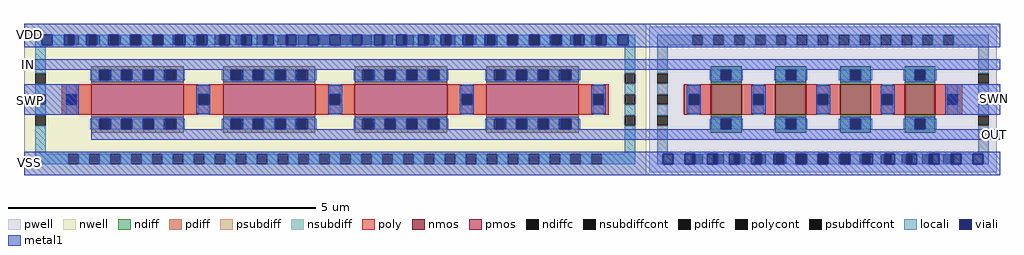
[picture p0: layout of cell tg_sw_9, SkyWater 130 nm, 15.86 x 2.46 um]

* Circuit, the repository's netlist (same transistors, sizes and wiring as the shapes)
** sch_path: /home/mthudaa/vlsi/8bit_SAR-ADC_ITS/xschem/tg_sw_9.sch
.subckt tg_sw_9 vdd swp swn vss in out
*.PININFO vdd:I swp:I swn:I vss:I in:B out:B
XM1 in swp out vdd sky130_fd_pr__pfet_01v8 L=0.5 W=1.5 nf=1 m=4
XM2 in swn out vss sky130_fd_pr__nfet_01v8 L=0.5 W=0.5 nf=1 m=4
.ends
.end

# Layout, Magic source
magic
tech sky130A
magscale 1 2
<< locali >>
rect -16 369 5 403
rect 39 369 77 403
rect 111 369 149 403
rect 183 369 221 403
rect 255 369 293 403
rect 327 369 365 403
rect 399 369 437 403
rect 471 369 509 403
rect 543 369 581 403
rect 615 369 653 403
rect 687 369 725 403
rect 759 369 797 403
rect 831 369 869 403
rect 903 369 941 403
rect 975 369 1013 403
rect 1047 369 1085 403
rect 1119 369 1157 403
rect 1191 369 1229 403
rect 1263 369 1301 403
rect 1335 369 1373 403
rect 1407 369 1445 403
rect 1479 369 1517 403
rect 1551 369 1589 403
rect 1623 369 1661 403
rect 1695 369 1733 403
rect 1767 369 1805 403
rect 1839 369 1877 403
rect 1911 369 1933 403
rect 2005 -17 2023 17
rect 2057 -17 2095 17
rect 2129 -17 2167 17
rect 2201 -17 2239 17
rect 2273 -17 2311 17
rect 2345 -17 2383 17
rect 2417 -17 2455 17
rect 2489 -17 2527 17
rect 2561 -17 2599 17
rect 2633 -17 2671 17
rect 2705 -17 2743 17
rect 2777 -17 2815 17
rect 2849 -17 2887 17
rect 2921 -17 2959 17
rect 2993 -17 3031 17
rect 3065 -17 3083 17
<< viali >>
rect 5 369 39 403
rect 77 369 111 403
rect 149 369 183 403
rect 221 369 255 403
rect 293 369 327 403
rect 365 369 399 403
rect 437 369 471 403
rect 509 369 543 403
rect 581 369 615 403
rect 653 369 687 403
rect 725 369 759 403
rect 797 369 831 403
rect 869 369 903 403
rect 941 369 975 403
rect 1013 369 1047 403
rect 1085 369 1119 403
rect 1157 369 1191 403
rect 1229 369 1263 403
rect 1301 369 1335 403
rect 1373 369 1407 403
rect 1445 369 1479 403
rect 1517 369 1551 403
rect 1589 369 1623 403
rect 1661 369 1695 403
rect 1733 369 1767 403
rect 1805 369 1839 403
rect 1877 369 1911 403
rect 2023 -17 2057 17
rect 2095 -17 2129 17
rect 2167 -17 2201 17
rect 2239 -17 2273 17
rect 2311 -17 2345 17
rect 2383 -17 2417 17
rect 2455 -17 2489 17
rect 2527 -17 2561 17
rect 2599 -17 2633 17
rect 2671 -17 2705 17
rect 2743 -17 2777 17
rect 2815 -17 2849 17
rect 2887 -17 2921 17
rect 2959 -17 2993 17
rect 3031 -17 3065 17
<< metal1 >>
rect -53 403 3119 439
rect -53 369 5 403
rect 39 369 77 403
rect 111 369 149 403
rect 183 369 221 403
rect 255 369 293 403
rect 327 369 365 403
rect 399 369 437 403
rect 471 369 509 403
rect 543 369 581 403
rect 615 369 653 403
rect 687 369 725 403
rect 759 369 797 403
rect 831 369 869 403
rect 903 369 941 403
rect 975 369 1013 403
rect 1047 369 1085 403
rect 1119 369 1157 403
rect 1191 369 1229 403
rect 1263 369 1301 403
rect 1335 369 1373 403
rect 1407 369 1445 403
rect 1479 369 1517 403
rect 1551 369 1589 403
rect 1623 369 1661 403
rect 1695 369 1733 403
rect 1767 369 1805 403
rect 1839 369 1877 403
rect 1911 369 3119 403
rect -53 363 3119 369
rect -53 289 3119 323
rect -53 143 125 243
rect 2941 143 3119 243
rect 166 63 3119 97
rect -53 17 3119 23
rect -53 -17 2023 17
rect 2057 -17 2095 17
rect 2129 -17 2167 17
rect 2201 -17 2239 17
rect 2273 -17 2311 17
rect 2345 -17 2383 17
rect 2417 -17 2455 17
rect 2489 -17 2527 17
rect 2561 -17 2599 17
rect 2633 -17 2671 17
rect 2705 -17 2743 17
rect 2777 -17 2815 17
rect 2849 -17 2887 17
rect 2921 -17 2959 17
rect 2993 -17 3031 17
rect 3065 -17 3119 17
rect -53 -53 3119 -17
use sky130_fd_pr__pfet_01v8_SEQ3W4  XM1
transform 0 1 958 -1 0 193
box -246 -1011 246 1011
use sky130_fd_pr__nfet_01v8_G4VVNX  XM2
transform 0 1 2544 -1 0 193
box -236 -565 236 565
<< labels >>
flabel metal1 s -40 400 -29 411 0 FreeSans 500 0 0 0 VDD
port 1 nsew
flabel metal1 s -40 -18 -29 -7 0 FreeSans 500 0 0 0 VSS
port 2 nsew
flabel metal1 s -43 302 -34 311 0 FreeSans 500 0 0 0 IN
port 3 nsew
flabel metal1 s -37 186 -28 195 0 FreeSans 500 0 0 0 SWP
port 4 nsew
flabel metal1 s 3096 193 3106 202 0 FreeSans 500 0 0 0 SWN
port 5 nsew
flabel metal1 s 3096 76 3106 85 0 FreeSans 500 0 0 0 OUT
port 6 nsew
<< end >>

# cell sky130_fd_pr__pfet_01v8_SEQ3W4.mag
magic
tech sky130A
magscale 1 2
<< nwell >>
rect -246 -1011 246 1011
<< pmos >>
rect -50 492 50 792
rect -50 64 50 364
rect -50 -364 50 -64
rect -50 -792 50 -492
<< pdiff >>
rect -108 761 -50 792
rect -108 727 -96 761
rect -62 727 -50 761
rect -108 693 -50 727
rect -108 659 -96 693
rect -62 659 -50 693
rect -108 625 -50 659
rect -108 591 -96 625
rect -62 591 -50 625
rect -108 557 -50 591
rect -108 523 -96 557
rect -62 523 -50 557
rect -108 492 -50 523
rect 50 761 108 792
rect 50 727 62 761
rect 96 727 108 761
rect 50 693 108 727
rect 50 659 62 693
rect 96 659 108 693
rect 50 625 108 659
rect 50 591 62 625
rect 96 591 108 625
rect 50 557 108 591
rect 50 523 62 557
rect 96 523 108 557
rect 50 492 108 523
rect -108 333 -50 364
rect -108 299 -96 333
rect -62 299 -50 333
rect -108 265 -50 299
rect -108 231 -96 265
rect -62 231 -50 265
rect -108 197 -50 231
rect -108 163 -96 197
rect -62 163 -50 197
rect -108 129 -50 163
rect -108 95 -96 129
rect -62 95 -50 129
rect -108 64 -50 95
rect 50 333 108 364
rect 50 299 62 333
rect 96 299 108 333
rect 50 265 108 299
rect 50 231 62 265
rect 96 231 108 265
rect 50 197 108 231
rect 50 163 62 197
rect 96 163 108 197
rect 50 129 108 163
rect 50 95 62 129
rect 96 95 108 129
rect 50 64 108 95
rect -108 -95 -50 -64
rect -108 -129 -96 -95
rect -62 -129 -50 -95
rect -108 -163 -50 -129
rect -108 -197 -96 -163
rect -62 -197 -50 -163
rect -108 -231 -50 -197
rect -108 -265 -96 -231
rect -62 -265 -50 -231
rect -108 -299 -50 -265
rect -108 -333 -96 -299
rect -62 -333 -50 -299
rect -108 -364 -50 -333
rect 50 -95 108 -64
rect 50 -129 62 -95
rect 96 -129 108 -95
rect 50 -163 108 -129
rect 50 -197 62 -163
rect 96 -197 108 -163
rect 50 -231 108 -197
rect 50 -265 62 -231
rect 96 -265 108 -231
rect 50 -299 108 -265
rect 50 -333 62 -299
rect 96 -333 108 -299
rect 50 -364 108 -333
rect -108 -523 -50 -492
rect -108 -557 -96 -523
rect -62 -557 -50 -523
rect -108 -591 -50 -557
rect -108 -625 -96 -591
rect -62 -625 -50 -591
rect -108 -659 -50 -625
rect -108 -693 -96 -659
rect -62 -693 -50 -659
rect -108 -727 -50 -693
rect -108 -761 -96 -727
rect -62 -761 -50 -727
rect -108 -792 -50 -761
rect 50 -523 108 -492
rect 50 -557 62 -523
rect 96 -557 108 -523
rect 50 -591 108 -557
rect 50 -625 62 -591
rect 96 -625 108 -591
rect 50 -659 108 -625
rect 50 -693 62 -659
rect 96 -693 108 -659
rect 50 -727 108 -693
rect 50 -761 62 -727
rect 96 -761 108 -727
rect 50 -792 108 -761
<< pdiffc >>
rect -96 727 -62 761
rect -96 659 -62 693
rect -96 591 -62 625
rect -96 523 -62 557
rect 62 727 96 761
rect 62 659 96 693
rect 62 591 96 625
rect 62 523 96 557
rect -96 299 -62 333
rect -96 231 -62 265
rect -96 163 -62 197
rect -96 95 -62 129
rect 62 299 96 333
rect 62 231 96 265
rect 62 163 96 197
rect 62 95 96 129
rect -96 -129 -62 -95
rect -96 -197 -62 -163
rect -96 -265 -62 -231
rect -96 -333 -62 -299
rect 62 -129 96 -95
rect 62 -197 96 -163
rect 62 -265 96 -231
rect 62 -333 96 -299
rect -96 -557 -62 -523
rect -96 -625 -62 -591
rect -96 -693 -62 -659
rect -96 -761 -62 -727
rect 62 -557 96 -523
rect 62 -625 96 -591
rect 62 -693 96 -659
rect 62 -761 96 -727
<< nsubdiff >>
rect -210 941 -85 975
rect -51 941 -17 975
rect 17 941 51 975
rect 85 941 210 975
rect -210 867 -176 941
rect -210 799 -176 833
rect 176 867 210 941
rect 176 799 210 833
rect -210 731 -176 765
rect -210 663 -176 697
rect -210 595 -176 629
rect -210 527 -176 561
rect -210 459 -176 493
rect 176 731 210 765
rect 176 663 210 697
rect 176 595 210 629
rect 176 527 210 561
rect -210 391 -176 425
rect 176 459 210 493
rect 176 391 210 425
rect -210 323 -176 357
rect -210 255 -176 289
rect -210 187 -176 221
rect -210 119 -176 153
rect -210 51 -176 85
rect 176 323 210 357
rect 176 255 210 289
rect 176 187 210 221
rect 176 119 210 153
rect -210 -17 -176 17
rect -210 -85 -176 -51
rect 176 51 210 85
rect 176 -17 210 17
rect -210 -153 -176 -119
rect -210 -221 -176 -187
rect -210 -289 -176 -255
rect -210 -357 -176 -323
rect 176 -85 210 -51
rect 176 -153 210 -119
rect 176 -221 210 -187
rect 176 -289 210 -255
rect 176 -357 210 -323
rect -210 -425 -176 -391
rect -210 -493 -176 -459
rect 176 -425 210 -391
rect -210 -561 -176 -527
rect -210 -629 -176 -595
rect -210 -697 -176 -663
rect -210 -765 -176 -731
rect 176 -493 210 -459
rect 176 -561 210 -527
rect 176 -629 210 -595
rect 176 -697 210 -663
rect 176 -765 210 -731
rect -210 -833 -176 -799
rect -210 -941 -176 -867
rect 176 -833 210 -799
rect 176 -941 210 -867
rect -210 -975 -85 -941
rect -51 -975 -17 -941
rect 17 -975 51 -941
rect 85 -975 210 -941
<< nsubdiffcont >>
rect -85 941 -51 975
rect -17 941 17 975
rect 51 941 85 975
rect -210 833 -176 867
rect -210 765 -176 799
rect 176 833 210 867
rect -210 697 -176 731
rect -210 629 -176 663
rect -210 561 -176 595
rect -210 493 -176 527
rect 176 765 210 799
rect 176 697 210 731
rect 176 629 210 663
rect 176 561 210 595
rect 176 493 210 527
rect -210 425 -176 459
rect -210 357 -176 391
rect 176 425 210 459
rect -210 289 -176 323
rect -210 221 -176 255
rect -210 153 -176 187
rect -210 85 -176 119
rect 176 357 210 391
rect 176 289 210 323
rect 176 221 210 255
rect 176 153 210 187
rect 176 85 210 119
rect -210 17 -176 51
rect -210 -51 -176 -17
rect 176 17 210 51
rect 176 -51 210 -17
rect -210 -119 -176 -85
rect -210 -187 -176 -153
rect -210 -255 -176 -221
rect -210 -323 -176 -289
rect -210 -391 -176 -357
rect 176 -119 210 -85
rect 176 -187 210 -153
rect 176 -255 210 -221
rect 176 -323 210 -289
rect -210 -459 -176 -425
rect 176 -391 210 -357
rect 176 -459 210 -425
rect -210 -527 -176 -493
rect -210 -595 -176 -561
rect -210 -663 -176 -629
rect -210 -731 -176 -697
rect -210 -799 -176 -765
rect 176 -527 210 -493
rect 176 -595 210 -561
rect 176 -663 210 -629
rect 176 -731 210 -697
rect -210 -867 -176 -833
rect 176 -799 210 -765
rect 176 -867 210 -833
rect -85 -975 -51 -941
rect -17 -975 17 -941
rect 51 -975 85 -941
<< poly >>
rect -50 873 50 889
rect -50 839 -17 873
rect 17 839 50 873
rect -50 792 50 839
rect -50 445 50 492
rect -50 411 -17 445
rect 17 411 50 445
rect -50 364 50 411
rect -50 17 50 64
rect -50 -17 -17 17
rect 17 -17 50 17
rect -50 -64 50 -17
rect -50 -411 50 -364
rect -50 -445 -17 -411
rect 17 -445 50 -411
rect -50 -492 50 -445
rect -50 -839 50 -792
rect -50 -873 -17 -839
rect 17 -873 50 -839
rect -50 -889 50 -873
<< polycont >>
rect -17 839 17 873
rect -17 411 17 445
rect -17 -17 17 17
rect -17 -445 17 -411
rect -17 -873 17 -839
<< locali >>
rect -210 941 -85 975
rect -51 941 -17 975
rect 17 941 51 975
rect 85 941 210 975
rect -210 867 -176 941
rect -50 839 -17 873
rect 17 839 50 873
rect 176 867 210 941
rect -210 799 -176 833
rect 176 799 210 833
rect -210 731 -176 765
rect -210 663 -176 697
rect -210 595 -176 629
rect -210 527 -176 561
rect -210 459 -176 493
rect -96 767 -62 796
rect -96 695 -62 727
rect -96 625 -62 659
rect -96 557 -62 589
rect -96 488 -62 517
rect 62 767 96 796
rect 62 695 96 727
rect 62 625 96 659
rect 62 557 96 589
rect 62 488 96 517
rect 176 731 210 765
rect 176 663 210 697
rect 176 595 210 629
rect 176 527 210 561
rect 176 459 210 493
rect -210 391 -176 425
rect -50 411 -17 445
rect 17 411 50 445
rect 176 391 210 425
rect -210 323 -176 357
rect -210 255 -176 289
rect -210 187 -176 221
rect -210 119 -176 153
rect -210 51 -176 85
rect -96 339 -62 368
rect -96 267 -62 299
rect -96 197 -62 231
rect -96 129 -62 161
rect -96 60 -62 89
rect 62 339 96 368
rect 62 267 96 299
rect 62 197 96 231
rect 62 129 96 161
rect 62 60 96 89
rect 176 323 210 357
rect 176 255 210 289
rect 176 187 210 221
rect 176 119 210 153
rect 176 51 210 85
rect -210 -17 -176 17
rect -50 -17 -17 17
rect 17 -17 50 17
rect 176 -17 210 17
rect -210 -85 -176 -51
rect -210 -153 -176 -119
rect -210 -221 -176 -187
rect -210 -289 -176 -255
rect -210 -357 -176 -323
rect -96 -89 -62 -60
rect -96 -161 -62 -129
rect -96 -231 -62 -197
rect -96 -299 -62 -267
rect -96 -368 -62 -339
rect 62 -89 96 -60
rect 62 -161 96 -129
rect 62 -231 96 -197
rect 62 -299 96 -267
rect 62 -368 96 -339
rect 176 -85 210 -51
rect 176 -153 210 -119
rect 176 -221 210 -187
rect 176 -289 210 -255
rect 176 -357 210 -323
rect -210 -425 -176 -391
rect -50 -445 -17 -411
rect 17 -445 50 -411
rect 176 -425 210 -391
rect -210 -493 -176 -459
rect -210 -561 -176 -527
rect -210 -629 -176 -595
rect -210 -697 -176 -663
rect -210 -765 -176 -731
rect -96 -517 -62 -488
rect -96 -589 -62 -557
rect -96 -659 -62 -625
rect -96 -727 -62 -695
rect -96 -796 -62 -767
rect 62 -517 96 -488
rect 62 -589 96 -557
rect 62 -659 96 -625
rect 62 -727 96 -695
rect 62 -796 96 -767
rect 176 -493 210 -459
rect 176 -561 210 -527
rect 176 -629 210 -595
rect 176 -697 210 -663
rect 176 -765 210 -731
rect -210 -833 -176 -799
rect 176 -833 210 -799
rect -210 -941 -176 -867
rect -50 -873 -17 -839
rect 17 -873 50 -839
rect 176 -941 210 -867
rect -210 -975 -85 -941
rect -51 -975 -17 -941
rect 17 -975 51 -941
rect 85 -975 210 -941
<< viali >>
rect -17 839 17 873
rect -96 761 -62 767
rect -96 733 -62 761
rect -96 693 -62 695
rect -96 661 -62 693
rect -96 591 -62 623
rect -96 589 -62 591
rect -96 523 -62 551
rect -96 517 -62 523
rect 62 761 96 767
rect 62 733 96 761
rect 62 693 96 695
rect 62 661 96 693
rect 62 591 96 623
rect 62 589 96 591
rect 62 523 96 551
rect 62 517 96 523
rect -17 411 17 445
rect -96 333 -62 339
rect -96 305 -62 333
rect -96 265 -62 267
rect -96 233 -62 265
rect -96 163 -62 195
rect -96 161 -62 163
rect -96 95 -62 123
rect -96 89 -62 95
rect 62 333 96 339
rect 62 305 96 333
rect 62 265 96 267
rect 62 233 96 265
rect 62 163 96 195
rect 62 161 96 163
rect 62 95 96 123
rect 62 89 96 95
rect -17 -17 17 17
rect -96 -95 -62 -89
rect -96 -123 -62 -95
rect -96 -163 -62 -161
rect -96 -195 -62 -163
rect -96 -265 -62 -233
rect -96 -267 -62 -265
rect -96 -333 -62 -305
rect -96 -339 -62 -333
rect 62 -95 96 -89
rect 62 -123 96 -95
rect 62 -163 96 -161
rect 62 -195 96 -163
rect 62 -265 96 -233
rect 62 -267 96 -265
rect 62 -333 96 -305
rect 62 -339 96 -333
rect -17 -445 17 -411
rect -96 -523 -62 -517
rect -96 -551 -62 -523
rect -96 -591 -62 -589
rect -96 -623 -62 -591
rect -96 -693 -62 -661
rect -96 -695 -62 -693
rect -96 -761 -62 -733
rect -96 -767 -62 -761
rect 62 -523 96 -517
rect 62 -551 96 -523
rect 62 -591 96 -589
rect 62 -623 96 -591
rect 62 -693 96 -661
rect 62 -695 96 -693
rect 62 -761 96 -733
rect 62 -767 96 -761
rect -17 -873 17 -839
<< metal1 >>
rect -46 873 46 879
rect -46 839 -17 873
rect 17 839 46 873
rect -46 833 46 839
rect -102 767 -56 792
rect -102 733 -96 767
rect -62 733 -56 767
rect -102 695 -56 733
rect -102 661 -96 695
rect -62 661 -56 695
rect -102 623 -56 661
rect -102 589 -96 623
rect -62 589 -56 623
rect -102 551 -56 589
rect -102 517 -96 551
rect -62 517 -56 551
rect -102 492 -56 517
rect 56 767 102 792
rect 56 733 62 767
rect 96 733 102 767
rect 56 695 102 733
rect 56 661 62 695
rect 96 661 102 695
rect 56 623 102 661
rect 56 589 62 623
rect 96 589 102 623
rect 56 551 102 589
rect 56 517 62 551
rect 96 517 102 551
rect 56 492 102 517
rect -46 445 46 451
rect -46 411 -17 445
rect 17 411 46 445
rect -46 405 46 411
rect -102 339 -56 364
rect -102 305 -96 339
rect -62 305 -56 339
rect -102 267 -56 305
rect -102 233 -96 267
rect -62 233 -56 267
rect -102 195 -56 233
rect -102 161 -96 195
rect -62 161 -56 195
rect -102 123 -56 161
rect -102 89 -96 123
rect -62 89 -56 123
rect -102 64 -56 89
rect 56 339 102 364
rect 56 305 62 339
rect 96 305 102 339
rect 56 267 102 305
rect 56 233 62 267
rect 96 233 102 267
rect 56 195 102 233
rect 56 161 62 195
rect 96 161 102 195
rect 56 123 102 161
rect 56 89 62 123
rect 96 89 102 123
rect 56 64 102 89
rect -46 17 46 23
rect -46 -17 -17 17
rect 17 -17 46 17
rect -46 -23 46 -17
rect -102 -89 -56 -64
rect -102 -123 -96 -89
rect -62 -123 -56 -89
rect -102 -161 -56 -123
rect -102 -195 -96 -161
rect -62 -195 -56 -161
rect -102 -233 -56 -195
rect -102 -267 -96 -233
rect -62 -267 -56 -233
rect -102 -305 -56 -267
rect -102 -339 -96 -305
rect -62 -339 -56 -305
rect -102 -364 -56 -339
rect 56 -89 102 -64
rect 56 -123 62 -89
rect 96 -123 102 -89
rect 56 -161 102 -123
rect 56 -195 62 -161
rect 96 -195 102 -161
rect 56 -233 102 -195
rect 56 -267 62 -233
rect 96 -267 102 -233
rect 56 -305 102 -267
rect 56 -339 62 -305
rect 96 -339 102 -305
rect 56 -364 102 -339
rect -46 -411 46 -405
rect -46 -445 -17 -411
rect 17 -445 46 -411
rect -46 -451 46 -445
rect -102 -517 -56 -492
rect -102 -551 -96 -517
rect -62 -551 -56 -517
rect -102 -589 -56 -551
rect -102 -623 -96 -589
rect -62 -623 -56 -589
rect -102 -661 -56 -623
rect -102 -695 -96 -661
rect -62 -695 -56 -661
rect -102 -733 -56 -695
rect -102 -767 -96 -733
rect -62 -767 -56 -733
rect -102 -792 -56 -767
rect 56 -517 102 -492
rect 56 -551 62 -517
rect 96 -551 102 -517
rect 56 -589 102 -551
rect 56 -623 62 -589
rect 96 -623 102 -589
rect 56 -661 102 -623
rect 56 -695 62 -661
rect 96 -695 102 -661
rect 56 -733 102 -695
rect 56 -767 62 -733
rect 96 -767 102 -733
rect 56 -792 102 -767
rect -46 -839 46 -833
rect -46 -873 -17 -839
rect 17 -873 46 -839
rect -46 -879 46 -873
<< properties >>
string FIXED_BBOX -193 -958 193 958
<< end >>

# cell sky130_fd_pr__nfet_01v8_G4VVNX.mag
magic
tech sky130A
magscale 1 2
<< pwell >>
rect -236 -565 236 565
<< nmos >>
rect -50 265 50 365
rect -50 55 50 155
rect -50 -155 50 -55
rect -50 -365 50 -265
<< ndiff >>
rect -108 332 -50 365
rect -108 298 -96 332
rect -62 298 -50 332
rect -108 265 -50 298
rect 50 332 108 365
rect 50 298 62 332
rect 96 298 108 332
rect 50 265 108 298
rect -108 122 -50 155
rect -108 88 -96 122
rect -62 88 -50 122
rect -108 55 -50 88
rect 50 122 108 155
rect 50 88 62 122
rect 96 88 108 122
rect 50 55 108 88
rect -108 -88 -50 -55
rect -108 -122 -96 -88
rect -62 -122 -50 -88
rect -108 -155 -50 -122
rect 50 -88 108 -55
rect 50 -122 62 -88
rect 96 -122 108 -88
rect 50 -155 108 -122
rect -108 -298 -50 -265
rect -108 -332 -96 -298
rect -62 -332 -50 -298
rect -108 -365 -50 -332
rect 50 -298 108 -265
rect 50 -332 62 -298
rect 96 -332 108 -298
rect 50 -365 108 -332
<< ndiffc >>
rect -96 298 -62 332
rect 62 298 96 332
rect -96 88 -62 122
rect 62 88 96 122
rect -96 -122 -62 -88
rect 62 -122 96 -88
rect -96 -332 -62 -298
rect 62 -332 96 -298
<< psubdiff >>
rect -210 505 -85 539
rect -51 505 -17 539
rect 17 505 51 539
rect 85 505 210 539
rect -210 425 -176 505
rect -210 357 -176 391
rect 176 425 210 505
rect -210 289 -176 323
rect 176 357 210 391
rect 176 289 210 323
rect -210 221 -176 255
rect -210 153 -176 187
rect 176 221 210 255
rect -210 85 -176 119
rect 176 153 210 187
rect 176 85 210 119
rect -210 17 -176 51
rect -210 -51 -176 -17
rect 176 17 210 51
rect 176 -51 210 -17
rect -210 -119 -176 -85
rect -210 -187 -176 -153
rect 176 -119 210 -85
rect -210 -255 -176 -221
rect 176 -187 210 -153
rect 176 -255 210 -221
rect -210 -323 -176 -289
rect -210 -391 -176 -357
rect 176 -323 210 -289
rect -210 -505 -176 -425
rect 176 -391 210 -357
rect 176 -505 210 -425
rect -210 -539 -85 -505
rect -51 -539 -17 -505
rect 17 -539 51 -505
rect 85 -539 210 -505
<< psubdiffcont >>
rect -85 505 -51 539
rect -17 505 17 539
rect 51 505 85 539
rect -210 391 -176 425
rect 176 391 210 425
rect -210 323 -176 357
rect -210 255 -176 289
rect 176 323 210 357
rect -210 187 -176 221
rect 176 255 210 289
rect 176 187 210 221
rect -210 119 -176 153
rect -210 51 -176 85
rect 176 119 210 153
rect -210 -17 -176 17
rect -210 -85 -176 -51
rect 176 51 210 85
rect 176 -17 210 17
rect -210 -153 -176 -119
rect 176 -85 210 -51
rect 176 -153 210 -119
rect -210 -221 -176 -187
rect -210 -289 -176 -255
rect 176 -221 210 -187
rect -210 -357 -176 -323
rect 176 -289 210 -255
rect 176 -357 210 -323
rect -210 -425 -176 -391
rect 176 -425 210 -391
rect -85 -539 -51 -505
rect -17 -539 17 -505
rect 51 -539 85 -505
<< poly >>
rect -50 437 50 453
rect -50 403 -17 437
rect 17 403 50 437
rect -50 365 50 403
rect -50 227 50 265
rect -50 193 -17 227
rect 17 193 50 227
rect -50 155 50 193
rect -50 17 50 55
rect -50 -17 -17 17
rect 17 -17 50 17
rect -50 -55 50 -17
rect -50 -193 50 -155
rect -50 -227 -17 -193
rect 17 -227 50 -193
rect -50 -265 50 -227
rect -50 -403 50 -365
rect -50 -437 -17 -403
rect 17 -437 50 -403
rect -50 -453 50 -437
<< polycont >>
rect -17 403 17 437
rect -17 193 17 227
rect -17 -17 17 17
rect -17 -227 17 -193
rect -17 -437 17 -403
<< locali >>
rect -210 505 -85 539
rect -51 505 -17 539
rect 17 505 51 539
rect 85 505 210 539
rect -210 425 -176 505
rect -50 403 -17 437
rect 17 403 50 437
rect 176 425 210 505
rect -210 357 -176 391
rect -210 289 -176 323
rect -96 332 -62 369
rect -96 261 -62 298
rect 62 332 96 369
rect 62 261 96 298
rect 176 357 210 391
rect 176 289 210 323
rect -210 221 -176 255
rect -50 193 -17 227
rect 17 193 50 227
rect 176 221 210 255
rect -210 153 -176 187
rect -210 85 -176 119
rect -96 122 -62 159
rect -96 51 -62 88
rect 62 122 96 159
rect 62 51 96 88
rect 176 153 210 187
rect 176 85 210 119
rect -210 17 -176 51
rect 176 17 210 51
rect -50 -17 -17 17
rect 17 -17 50 17
rect -210 -51 -176 -17
rect 176 -51 210 -17
rect -210 -119 -176 -85
rect -210 -187 -176 -153
rect -96 -88 -62 -51
rect -96 -159 -62 -122
rect 62 -88 96 -51
rect 62 -159 96 -122
rect 176 -119 210 -85
rect 176 -187 210 -153
rect -210 -255 -176 -221
rect -50 -227 -17 -193
rect 17 -227 50 -193
rect 176 -255 210 -221
rect -210 -323 -176 -289
rect -210 -391 -176 -357
rect -96 -298 -62 -261
rect -96 -369 -62 -332
rect 62 -298 96 -261
rect 62 -369 96 -332
rect 176 -323 210 -289
rect 176 -391 210 -357
rect -210 -505 -176 -425
rect -50 -437 -17 -403
rect 17 -437 50 -403
rect 176 -505 210 -425
rect -210 -539 -85 -505
rect -51 -539 -17 -505
rect 17 -539 51 -505
rect 85 -539 210 -505
<< viali >>
rect -17 403 17 437
rect -96 298 -62 332
rect 62 298 96 332
rect -17 193 17 227
rect -96 88 -62 122
rect 62 88 96 122
rect -17 -17 17 17
rect -96 -122 -62 -88
rect 62 -122 96 -88
rect -17 -227 17 -193
rect -96 -332 -62 -298
rect 62 -332 96 -298
rect -17 -437 17 -403
<< metal1 >>
rect -46 437 46 443
rect -46 403 -17 437
rect 17 403 46 437
rect -46 397 46 403
rect -102 332 -56 365
rect -102 298 -96 332
rect -62 298 -56 332
rect -102 265 -56 298
rect 56 332 102 365
rect 56 298 62 332
rect 96 298 102 332
rect 56 265 102 298
rect -46 227 46 233
rect -46 193 -17 227
rect 17 193 46 227
rect -46 187 46 193
rect -102 122 -56 155
rect -102 88 -96 122
rect -62 88 -56 122
rect -102 55 -56 88
rect 56 122 102 155
rect 56 88 62 122
rect 96 88 102 122
rect 56 55 102 88
rect -46 17 46 23
rect -46 -17 -17 17
rect 17 -17 46 17
rect -46 -23 46 -17
rect -102 -88 -56 -55
rect -102 -122 -96 -88
rect -62 -122 -56 -88
rect -102 -155 -56 -122
rect 56 -88 102 -55
rect 56 -122 62 -88
rect 96 -122 102 -88
rect 56 -155 102 -122
rect -46 -193 46 -187
rect -46 -227 -17 -193
rect 17 -227 46 -193
rect -46 -233 46 -227
rect -102 -298 -56 -265
rect -102 -332 -96 -298
rect -62 -332 -56 -298
rect -102 -365 -56 -332
rect 56 -298 102 -265
rect 56 -332 62 -298
rect 96 -332 102 -298
rect 56 -365 102 -332
rect -46 -403 46 -397
rect -46 -437 -17 -403
rect 17 -437 46 -403
rect -46 -443 46 -437
<< properties >>
string FIXED_BBOX -193 -522 193 522
<< end >>
